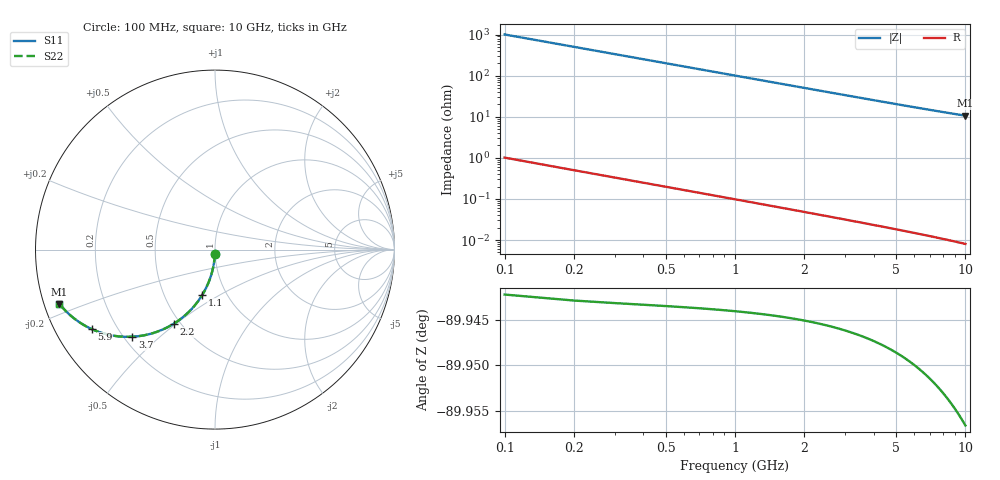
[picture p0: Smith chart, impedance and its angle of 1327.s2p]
# Hz S RI R 50.00
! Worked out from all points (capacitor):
!   100 points, 100 MHz to 10 GHz, reference 50 ohm
!   read as one part in shunt: C = 1.58 pF near 100 MHz
!   lowest |Z| = 10.6 ohm at 10 GHz (marker M1)
!   S11 on the Smith chart (normalised r, x): 100 MHz: 1.00, -0.05; 1.1 GHz: 0.77, -0.42; 2.2 GHz: 0.46, -0.49; 3.7 GHz: 0.23, -0.41; 5.9 GHz: 0.11, -0.29; 10 GHz: 0.04, -0.17
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1e8  -0.000556 -0.0245  0.9993 -0.0252  0.9993 -0.0252  -0.000556 -0.0245
2e8  -0.00243 -0.0489  0.9974 -0.0503  0.9974 -0.0503  -0.00243 -0.0489
3e8  -0.00552 -0.0732  0.9943 -0.0752  0.9943 -0.0752  -0.00552 -0.0732
4e8  -0.0098 -0.0971  0.99 -0.0998  0.99 -0.0998  -0.0098 -0.0971
5e8  -0.0153 -0.1207  0.9846 -0.1241  0.9846 -0.1241  -0.0153 -0.1207
6e8  -0.0218 -0.1439  0.978 -0.148  0.978 -0.148  -0.0218 -0.1439
7e8  -0.0295 -0.1666  0.9703 -0.1713  0.9703 -0.1713  -0.0295 -0.1666
9e8  -0.0478 -0.2101  0.952 -0.2161  0.952 -0.2161  -0.0478 -0.2101
1.1e9  -0.0698 -0.2508  0.93 -0.2582  0.93 -0.2582  -0.0698 -0.2508
1.4e9  -0.1084 -0.3058  0.8914 -0.3152  0.8914 -0.3152  -0.1084 -0.3058
1.8e9  -0.1674 -0.3669  0.8323 -0.379  0.8323 -0.379  -0.1674 -0.3669
2.2e9  -0.2311 -0.4137  0.7686 -0.4286  0.7686 -0.4286  -0.2311 -0.4137
2.8e9  -0.3278 -0.4595  0.6718 -0.4784  0.6718 -0.4784  -0.3278 -0.4595
3.4e9  -0.4188 -0.4813  0.5808 -0.5044  0.5808 -0.5044  -0.4188 -0.4813
3.7e9  -0.4607 -0.4854  0.5388 -0.5105  0.5388 -0.5105  -0.4607 -0.4854
4.4e9  -0.5479 -0.4821  0.4515 -0.5122  0.4515 -0.5122  -0.5479 -0.4821
5.1e9  -0.6203 -0.4672  0.3789 -0.5022  0.3789 -0.5022  -0.6203 -0.4672
5.9e9  -0.6871 -0.4426  0.3118 -0.4833  0.3118 -0.4833  -0.6871 -0.4426
6.7e9  -0.74 -0.4145  0.2587 -0.461  0.2587 -0.461  -0.74 -0.4145
7.5e9  -0.7819 -0.3857  0.2165 -0.438  0.2165 -0.438  -0.7819 -0.3857
8.4e9  -0.8191 -0.3541  0.179 -0.4131  0.179 -0.4131  -0.8191 -0.3541
1e10  -0.8665 -0.3024  0.1307 -0.3737  0.1307 -0.3737  -0.8665 -0.3024
